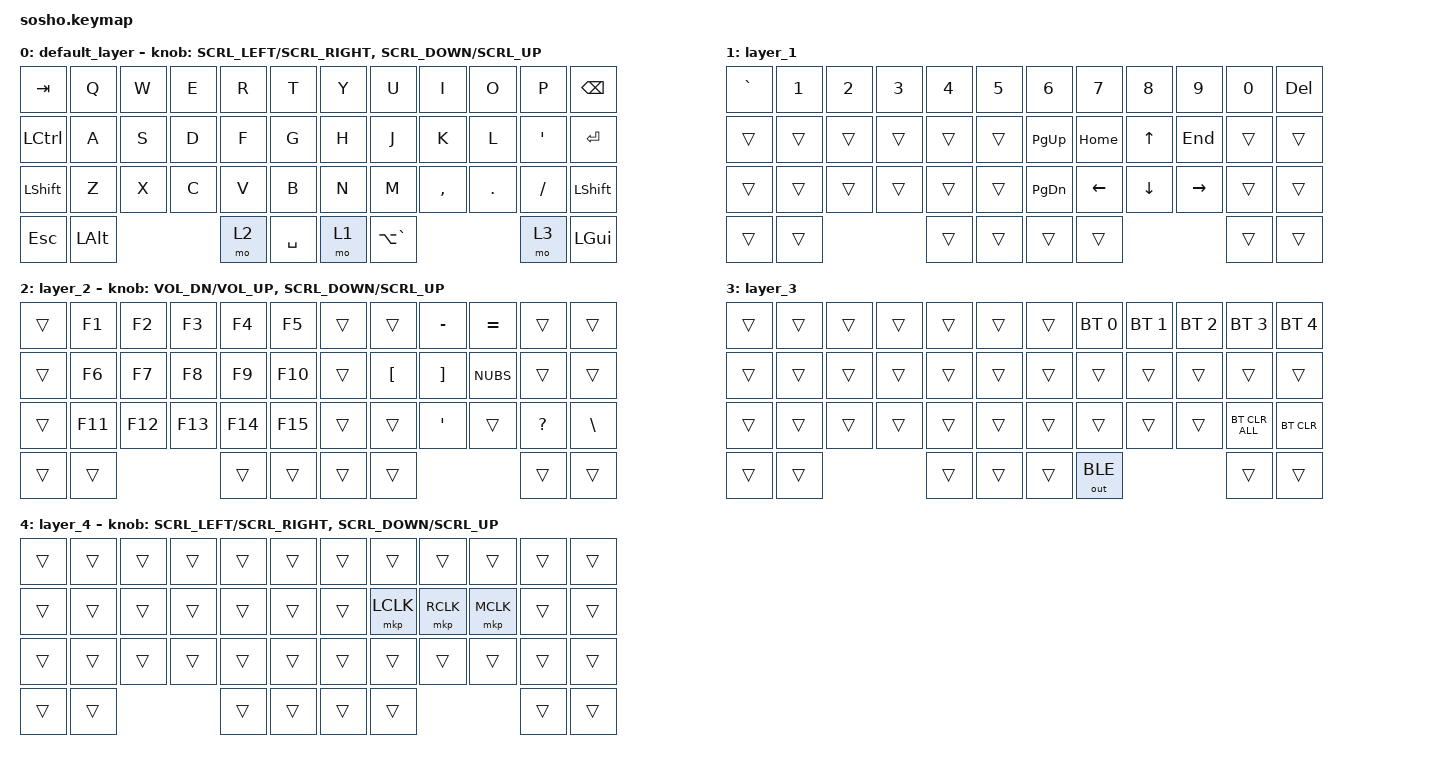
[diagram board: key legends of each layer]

/* スクロール量の調整（デフォルト150） */
#define ZMK_POINTING_DEFAULT_SCRL_VAL 150

#include <behaviors.dtsi>
#include <dt-bindings/zmk/bt.h>
#include <dt-bindings/zmk/keys.h>
#include <dt-bindings/zmk/pointing.h>
#include <dt-bindings/zmk/outputs.h>
#include <input/processors.dtsi>

/ {
    behaviors {
        ec_ms_l: ec_ms_h {
            compatible = "zmk,behavior-encoder-mouse-scroll";
            #sensor-binding-cells = <2>;
        };

        ec_ms_r: ec_ms_v {
            compatible = "zmk,behavior-encoder-mouse-scroll";
            #sensor-binding-cells = <2>;
        };
    };
};

/* スクロールの調整 */
&msc {
    time-to-max-speed-ms = <0>;
    acceleration-exponent = <0>;
};

/*
 * Auto Mouse Layer の設定
 * 位置19・20・21（J・K・L）を押しても
 * マウスレイヤーが解除されないようにする。
 */
&zip_temp_layer {
    require-prior-idle-ms = <200>;
    excluded-positions = <19 20 21>;
};

/*
 * マウスクリック後も短時間レイヤーを維持する。
 * 連続クリック用のタイムアウト：250ms
 */
&mkp_input_listener {
    input-processors = <&zip_temp_layer 4 250>;
};

/ {
    keymap {
        compatible = "zmk,keymap";

        /* 通常レイヤー */
        default_layer {
            bindings = <
                &kp TAB    &kp Q   &kp W  &kp E  &kp R  &kp T      &kp Y  &kp U  &kp I      &kp O    &kp P     &kp BSPC
                &kp LCTRL  &kp A   &kp S  &kp D  &kp F  &kp G      &kp H  &kp J  &kp K      &kp L    &kp SQT   &kp ENTER
                &kp LSHFT  &kp Z   &kp X  &kp C  &kp V  &kp B      &kp N  &kp M  &kp COMMA  &kp DOT  &kp SLASH &kp LSHFT
                &kp ESC    &kp LALT              &mo 2  &kp SPACE  &mo 1  &kp LA(GRAVE)              &mo 3     &kp LGUI
            >;

            sensor-bindings = <
                &ec_ms_l SCRL_LEFT SCRL_RIGHT
                &ec_ms_r SCRL_DOWN SCRL_UP
            >;
        };

        /* レイヤー1：カーソル操作など */
        layer_1 {
            bindings = <
                &kp GRAVE &kp N1  &kp N2  &kp N3  &kp N4  &kp N5       &kp N6    &kp N7   &kp N8   &kp N9    &kp N0 &kp DEL
                &trans    &trans  &trans  &trans  &trans  &trans      &kp PG_UP &kp HOME &kp UP   &kp END   &trans &trans
                &trans    &trans  &trans  &trans  &trans  &trans      &kp PG_DN &kp LEFT &kp DOWN &kp RIGHT &trans &trans
                &trans    &trans              &trans  &trans          &trans    &trans                      &trans &trans
            >;
        };

        /* レイヤー2：ファンクションキーなど */
        layer_2 {
            bindings = <
                &trans &kp F1  &kp F2  &kp F3  &kp F4  &kp F5      &trans  &trans    &kp MINUS &kp EQUAL &trans     &trans
                &trans &kp F6  &kp F7  &kp F8  &kp F9  &kp F10     &trans  &kp LBKT  &kp RBKT  &kp NUBS  &trans     &trans
                &trans &kp F11 &kp F12 &kp F13 &kp F14 &kp F15     &trans  &trans    &kp SQT   &trans    &kp QMARK  &kp BSLH
                &trans &trans              &trans  &trans         &trans  &trans                      &trans     &trans
            >;

            sensor-bindings = <
                &inc_dec_kp C_VOL_DN C_VOL_UP
                &ec_ms_r SCRL_DOWN SCRL_UP
            >;
        };

        /* レイヤー3：Bluetoothなど */
        layer_3 {
            bindings = <
                &trans &trans &trans &trans &trans &trans      &trans  &bt BT_SEL 0 &bt BT_SEL 1 &bt BT_SEL 2 &bt BT_SEL 3 &bt BT_SEL 4
                &trans &trans &trans &trans &trans &trans      &trans  &trans       &trans       &trans       &trans       &trans
                &trans &trans &trans &trans &trans &trans      &trans  &trans       &trans       &trans       &bt BT_CLR_ALL &bt BT_CLR
                &trans &trans              &trans &trans       &trans  &out OUT_BLE                             &trans       &trans
            >;
        };

        /*
         * レイヤー4：マウス操作専用
         * J＝左クリック、K＝右クリック、L＝中央クリック
         * それ以外は透過。
         */
        layer_4 {
            bindings = <
                &trans &trans &trans &trans &trans &trans      &trans &trans     &trans      &trans     &trans &trans
                &trans &trans &trans &trans &trans &trans      &trans &mkp LCLK  &mkp RCLK   &mkp MCLK  &trans &trans
                &trans &trans &trans &trans &trans &trans      &trans &trans     &trans      &trans     &trans &trans
                &trans &trans              &trans &trans       &trans &trans                           &trans &trans
            >;

            sensor-bindings = <
                &ec_ms_l SCRL_LEFT SCRL_RIGHT
                &ec_ms_r SCRL_DOWN SCRL_UP
            >;
        };

        scroll {
            status = "reserved";
        };

        extra2 {
            status = "reserved";
        };
    };
};
